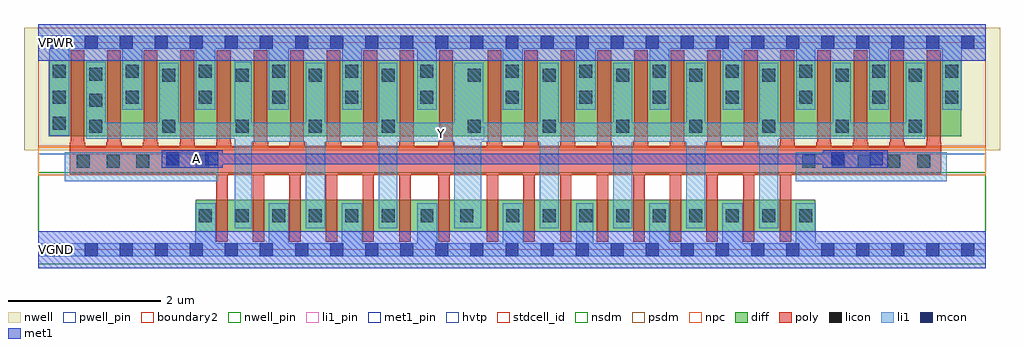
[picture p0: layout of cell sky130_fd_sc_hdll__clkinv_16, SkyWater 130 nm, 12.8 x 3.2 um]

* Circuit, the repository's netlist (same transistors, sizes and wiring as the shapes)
* Copyright 2020 The SkyWater PDK Authors
*
* Licensed under the Apache License, Version 2.0 (the "License");
* you may not use this file except in compliance with the License.
* You may obtain a copy of the License at
*
*     https://www.apache.org/licenses/LICENSE-2.0
*
* Unless required by applicable law or agreed to in writing, software
* distributed under the License is distributed on an "AS IS" BASIS,
* WITHOUT WARRANTIES OR CONDITIONS OF ANY KIND, either express or implied.
* See the License for the specific language governing permissions and
* limitations under the License.
*
* SPDX-License-Identifier: Apache-2.0

.SUBCKT sky130_fd_sc_hdll__clkinv_16 A VGND VNB VPB VPWR Y
*.PININFO A:I VGND:I VNB:I VPB:I VPWR:I Y:O
MMIN0 Y A VGND VNB sky130_fd_pr__nfet_01v8 m=16 w=0.42U l=0.15U mult=1 sa=0.265
+ sb=0.265 sd=0.28 area=0.063 perim=1.14
MMIP0 Y A VPWR VPB sky130_fd_pr__pfet_01v8_hvt m=24 w=1.0U l=0.18U mult=1 sa=0.265
+ sb=0.265 sd=0.28 area=0.063 perim=1.14
.ENDS sky130_fd_sc_hdll__clkinv_16

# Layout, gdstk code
import gdstk
lib = gdstk.Library(unit=1e-6, precision=1e-09)
def R(c, l, rs):  # rectangles x0, y0, x1, y1
    for r in rs: c.add(gdstk.rectangle(r[:2], r[2:], *l))
def A(c, l, x, y, w, h, nx, ny, dx, dy):  # array of equal rectangles
    R(c, l, [(x+i*dx, y+j*dy, x+i*dx+w, y+j*dy+h) for i in range(nx) for j in range(ny)])
def P(c, l, *ps):  # polygons
    for p in ps: c.add(gdstk.Polygon(p, *l))
nwell_pin = (64, 16)
nwell = (64, 20)
diff = (65, 20)
poly = (66, 20)
licon = (66, 44)
li1_pin = (67, 16)
li1 = (67, 20)
mcon = (67, 44)
met1_pin = (68, 16)
met1 = (68, 20)
hvtp = (78, 44)
stdcell_id = (81, 4)
nsdm = (93, 44)
psdm = (94, 20)
npc = (95, 20)
pwell_pin = (122, 16)
boundary2 = (236, 0)

sky130_fd_sc_hdll__clkin = lib.new_cell('sky130_fd_sc_hdll__clkinv_16')
R(sky130_fd_sc_hdll__clkin, nwell_pin, [(0.145,2.635,0.315,2.805)])
R(sky130_fd_sc_hdll__clkin, nwell, [(-0.19,1.305,12.61,2.91)])
R(sky130_fd_sc_hdll__clkin, diff, [(2.065,0.235,10.185,0.655), (0.135,1.485,12.105,2.485)])
P(sky130_fd_sc_hdll__clkin, poly, [(8.77,1.41),(8.76,1.41),(8.76,1.35),(8.48,1.35),(8.48,1.41),(8.47,1.41),(8.47,2.615),(8.29,2.615),(8.29,1.41),(8.28,1.41),(8.28,1.35),(8,1.35),(8,1.41),(7.99,1.41),(7.99,2.615),(7.81,2.615),(7.81,1.41),(7.8,1.41),(7.8,1.35),(7.52,1.35),(7.52,1.41),(7.51,1.41),(7.51,2.615),(7.33,2.615),(7.33,1.41),(7.32,1.41),(7.32,1.35),(7.04,1.35),(7.04,1.41),(7.03,1.41),(7.03,2.615),(6.85,2.615),(6.85,1.41),(6.84,1.41),(6.84,1.35),(6.56,1.35),(6.56,1.41),(6.55,1.41),(6.55,2.615),(6.37,2.615),(6.37,1.41),(6.36,1.41),(6.36,1.35),(6.08,1.35),(6.08,1.41),(6.07,1.41),(6.07,2.615),(5.89,2.615),(5.89,1.41),(5.88,1.41),(5.88,1.35),(5.445,1.35),(5.445,1.41),(5.435,1.41),(5.435,2.615),(5.255,2.615),(5.255,1.41),(5.245,1.41),(5.245,1.35),(4.93,1.35),(4.93,1.41),(4.92,1.41),(4.92,2.615),(4.74,2.615),(4.74,1.41),(4.73,1.41),(4.73,1.35),(4.45,1.35),(4.45,1.41),(4.44,1.41),(4.44,2.615),(4.26,2.615),(4.26,1.41),(4.25,1.41),(4.25,1.35),(3.97,1.35),(3.97,1.41),(3.96,1.41),(3.96,2.615),(3.78,2.615),(3.78,1.41),(3.77,1.41),(3.77,1.35),(3.49,1.35),(3.49,1.41),(3.48,1.41),(3.48,2.615),(3.3,2.615),(3.3,1.41),(3.29,1.41),(3.29,1.35),(3.01,1.35),(3.01,1.41),(3,1.41),(3,2.615),(2.82,2.615),(2.82,1.41),(2.81,1.41),(2.81,1.35),(2.53,1.35),(2.53,1.41),(2.52,1.41),(2.52,2.615),(2.34,2.615),(2.34,1.41),(2.33,1.41),(2.33,1.35),(2.05,1.35),(2.05,1.41),(2.04,1.41),(2.04,2.615),(1.86,2.615),(1.86,1.41),(1.85,1.41),(1.85,1.35),(1.57,1.35),(1.57,1.41),(1.56,1.41),(1.56,2.615),(1.38,2.615),(1.38,1.41),(1.37,1.41),(1.37,1.35),(1.09,1.35),(1.09,1.41),(1.08,1.41),(1.08,2.615),(0.9,2.615),(0.9,1.41),(0.89,1.41),(0.89,1.35),(0.61,1.35),(0.61,1.41),(0.6,1.41),(0.6,2.615),(0.42,2.615),(0.42,1.41),(0.41,1.41),(0.41,0.99),(2.33,0.99),(2.33,0.105),(2.48,0.105),(2.48,0.99),(2.81,0.99),(2.81,0.105),(2.96,0.105),(2.96,0.99),(3.29,0.99),(3.29,0.105),(3.44,0.105),(3.44,0.99),(3.77,0.99),(3.77,0.105),(3.92,0.105),(3.92,0.99),(4.25,0.99),(4.25,0.105),(4.4,0.105),(4.4,0.99),(4.73,0.99),(4.73,0.105),(4.88,0.105),(4.88,0.99),(5.245,0.99),(5.245,0.105),(5.395,0.105),(5.395,0.99),(5.88,0.99),(5.88,0.105),(6.03,0.105),(6.03,0.99),(6.36,0.99),(6.36,0.105),(6.51,0.105),(6.51,0.99),(6.84,0.99),(6.84,0.105),(6.99,0.105),(6.99,0.99),(7.32,0.99),(7.32,0.105),(7.47,0.105),(7.47,0.99),(7.8,0.99),(7.8,0.105),(7.95,0.105),(7.95,0.99),(8.28,0.99),(8.28,0.105),(8.43,0.105),(8.43,0.99),(8.76,0.99),(8.76,0.105),(8.77,0.105)],
  [(11.84,1.41),(11.83,1.41),(11.83,2.615),(11.65,2.615),(11.65,1.41),(11.64,1.41),(11.64,1.35),(11.36,1.35),(11.36,1.41),(11.35,1.41),(11.35,2.615),(11.17,2.615),(11.17,1.41),(11.16,1.41),(11.16,1.35),(10.88,1.35),(10.88,1.41),(10.87,1.41),(10.87,2.615),(10.69,2.615),(10.69,1.41),(10.68,1.41),(10.68,1.35),(10.4,1.35),(10.4,1.41),(10.39,1.41),(10.39,2.615),(10.21,2.615),(10.21,1.41),(10.2,1.41),(10.2,1.35),(9.92,1.35),(9.92,1.41),(9.91,1.41),(9.91,2.615),(9.73,2.615),(9.73,1.41),(9.72,1.41),(9.72,1.35),(9.44,1.35),(9.44,1.41),(9.43,1.41),(9.43,2.615),(9.25,2.615),(9.25,1.41),(9.24,1.41),(9.24,1.35),(8.96,1.35),(8.96,1.41),(8.95,1.41),(8.95,2.615),(8.77,2.615),(8.77,0.105),(8.91,0.105),(8.91,0.99),(9.24,0.99),(9.24,0.105),(9.39,0.105),(9.39,0.99),(9.72,0.99),(9.72,0.105),(9.87,0.105),(9.87,0.99),(11.84,0.99)])
A(sky130_fd_sc_hdll__clkin, licon, 2.105, 0.36, 0.17, 0.17, 6, 1, 0.48, 0)
A(sky130_fd_sc_hdll__clkin, licon, 6.135, 0.36, 0.17, 0.17, 9, 1, 0.48, 0)
A(sky130_fd_sc_hdll__clkin, licon, 0.505, 1.075, 0.17, 0.17, 5, 1, 0.39, 0)
A(sky130_fd_sc_hdll__clkin, licon, 10.745, 1.075, 0.17, 0.17, 3, 1, 0.39, 0)
A(sky130_fd_sc_hdll__clkin, licon, 0.665, 1.535, 0.17, 0.17, 5, 1, 0.96, 0)
A(sky130_fd_sc_hdll__clkin, licon, 6.615, 1.535, 0.17, 0.17, 6, 2, 0.96, 0.665)
A(sky130_fd_sc_hdll__clkin, licon, 0.19, 1.575, 0.17, 0.17, 1, 3, 0, 0.34)
A(sky130_fd_sc_hdll__clkin, licon, 1.145, 1.915, 0.17, 0.17, 4, 2, 0.96, 0.34)
A(sky130_fd_sc_hdll__clkin, licon, 7.095, 1.915, 0.17, 0.17, 5, 2, 0.96, 0.34)
A(sky130_fd_sc_hdll__clkin, licon, 1.625, 2.2, 0.17, 0.17, 4, 1, 0.96, 0)
R(sky130_fd_sc_hdll__clkin, licon, [(5.01,0.36,5.18,0.53), (5.53,0.36,5.7,0.53), (10.015,1.075,10.185,1.245), (10.405,1.075,10.575,1.245), (5.63,1.535,5.8,1.705), (0.665,1.875,0.835,2.045), (5.005,1.915,5.175,2.085), (6.13,1.915,6.3,2.085), (11.89,1.915,12.06,2.085), (5.63,2.2,5.8,2.37), (0.665,2.215,0.835,2.385), (5.005,2.255,5.175,2.425), (6.13,2.255,6.3,2.425), (11.89,2.255,12.06,2.425)])
R(sky130_fd_sc_hdll__clkin, li1_pin, [(1.985,1.105,2.155,1.275), (5.675,1.445,5.845,1.615)])
R(sky130_fd_sc_hdll__clkin, li1, [(0.345,0.895,2.355,1.275), (9.93,0.895,11.91,1.275)])
P(sky130_fd_sc_hdll__clkin, li1, [(11.63,2.45),(11.375,2.45),(11.375,1.665),(10.655,1.665),(10.655,2.45),(10.415,2.45),(10.415,1.665),(9.705,1.665),(9.705,2.45),(9.455,2.45),(9.455,1.665),(8.745,1.665),(8.745,2.45),(8.495,2.45),(8.495,1.665),(7.785,1.665),(7.785,2.45),(7.535,2.45),(7.535,1.665),(6.825,1.665),(6.825,2.45),(6.575,2.45),(6.575,1.665),(5.83,1.665),(5.83,2.45),(5.455,2.45),(5.455,1.665),(4.705,1.665),(4.705,2.45),(4.465,2.45),(4.465,1.665),(3.76,1.665),(3.76,2.45),(3.505,2.45),(3.505,1.665),(2.8,1.665),(2.8,2.465),(2.575,2.465),(2.575,1.665),(1.84,1.665),(1.84,2.45),(1.585,2.45),(1.585,1.665),(0.88,1.665),(0.88,2.465),(0.625,2.465),(0.625,1.455),(2.575,1.455),(2.575,0.28),(2.8,0.28),(2.8,1.415),(3.505,1.415),(3.505,0.28),(3.76,0.28),(3.76,1.415),(4.465,1.415),(4.465,0.28),(4.705,0.28),(4.705,1.415),(5.455,1.415),(5.455,0.28),(5.805,0.28),(5.805,1.415),(6.575,1.415),(6.575,0.28),(6.825,0.28),(6.825,1.415),(7.535,1.415),(7.535,0.28),(7.785,0.28),(7.785,1.415),(8.495,1.415),(8.495,0.28),(8.745,0.28),(8.745,1.415),(9.455,1.415),(9.455,0.28),(9.705,0.28),(9.705,1.455),(11.63,1.455)],
  [(12.42,2.805),(0,2.805),(0,2.635),(0.14,2.635),(0.14,1.495),(0.405,1.495),(0.405,2.635),(1.1,2.635),(1.1,1.835),(1.36,1.835),(1.36,2.635),(2.065,2.635),(2.065,1.835),(2.32,1.835),(2.32,2.635),(3.02,2.635),(3.02,1.835),(3.28,1.835),(3.28,2.635),(3.985,2.635),(3.985,1.835),(4.24,1.835),(4.24,2.635),(4.965,2.635),(4.965,1.835),(5.22,1.835),(5.22,2.635),(6.09,2.635),(6.09,1.835),(6.345,1.835),(6.345,2.12),(6.35,2.12),(6.35,2.635),(7.055,2.635),(7.055,1.835),(7.31,1.835),(7.31,2.635),(8.015,2.635),(8.015,1.835),(8.27,1.835),(8.27,2.635),(8.975,2.635),(8.975,1.835),(9.23,1.835),(9.23,2.635),(9.935,2.635),(9.935,1.835),(10.19,1.835),(10.19,2.635),(10.895,2.635),(10.895,1.835),(11.15,1.835),(11.15,2.635),(11.85,2.635),(11.85,1.835),(12.11,1.835),(12.11,2.635),(12.42,2.635)],
  [(12.42,0.085),(10.195,0.085),(10.195,0.61),(9.93,0.61),(9.93,0.085),(9.235,0.085),(9.235,0.61),(8.97,0.61),(8.97,0.085),(8.275,0.085),(8.275,0.61),(8.01,0.61),(8.01,0.085),(7.275,0.085),(7.275,0.61),(7.05,0.61),(7.05,0.085),(6.355,0.085),(6.355,0.61),(6.09,0.61),(6.09,0.085),(5.23,0.085),(5.23,0.61),(4.965,0.61),(4.965,0.085),(4.245,0.085),(4.245,0.61),(3.98,0.61),(3.98,0.085),(3.285,0.085),(3.285,0.61),(3.02,0.61),(3.02,0.085),(2.325,0.085),(2.325,0.61),(2.055,0.61),(2.055,0.085),(0,0.085),(0,-0.085),(12.42,-0.085)])
A(sky130_fd_sc_hdll__clkin, mcon, 0.145, -0.085, 0.17, 0.17, 27, 2, 0.46, 2.72)
R(sky130_fd_sc_hdll__clkin, mcon, [(1.675,1.105,1.845,1.275), (2.185,1.105,2.355,1.275), (10.395,1.105,10.565,1.275), (10.905,1.105,11.075,1.275)])
R(sky130_fd_sc_hdll__clkin, met1_pin, [(0.145,-0.085,0.315,0.085), (0.145,2.635,0.315,2.805)])
R(sky130_fd_sc_hdll__clkin, met1, [(0,-0.24,12.42,0.24), (0,2.48,12.42,2.96)])
P(sky130_fd_sc_hdll__clkin, met1, [(11.135,1.305),(10.285,1.305),(10.285,1.26),(2.415,1.26),(2.415,1.305),(1.615,1.305),(1.615,1.075),(2.415,1.075),(2.415,1.12),(10.285,1.12),(10.285,1.075),(11.135,1.075)])
R(sky130_fd_sc_hdll__clkin, hvtp, [(0,1.25,12.42,2.72)])
R(sky130_fd_sc_hdll__clkin, stdcell_id, [(0,0,12.42,2.72)])
R(sky130_fd_sc_hdll__clkin, nsdm, [(0,-0.19,12.42,1.015)])
R(sky130_fd_sc_hdll__clkin, psdm, [(0,1.355,12.42,2.91)])
R(sky130_fd_sc_hdll__clkin, npc, [(0,0.975,12.42,1.345)])
R(sky130_fd_sc_hdll__clkin, pwell_pin, [(0.145,-0.085,0.315,0.085)])
R(sky130_fd_sc_hdll__clkin, boundary2, [(0,0,12.42,2.72)])
sky130_fd_sc_hdll__clkin.add(gdstk.Label('Y', (5.29,1.53), layer=67, texttype=5))
sky130_fd_sc_hdll__clkin.add(gdstk.Label('A', (2.07,1.19), layer=67, texttype=5))
sky130_fd_sc_hdll__clkin.add(gdstk.Label('VGND', (0.23,0), layer=68, texttype=5))
sky130_fd_sc_hdll__clkin.add(gdstk.Label('VPWR', (0.23,2.72), layer=68, texttype=5))
sky130_fd_sc_hdll__clkin.add(gdstk.Label('VNB', (0.23,0), layer=64, texttype=59))
sky130_fd_sc_hdll__clkin.add(gdstk.Label('VPB', (0.23,2.72), layer=64, texttype=5))
sky130_fd_sc_hdll__clkin.add(gdstk.Label('clkinv_16', (0,0), layer=83, texttype=44))

lib.write_gds('sky130_fd_sc_hdll__clkinv_16.gds')
